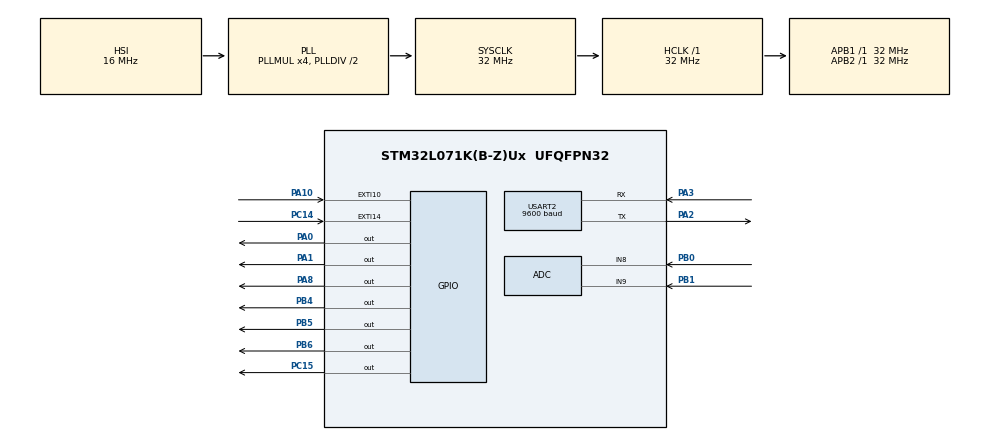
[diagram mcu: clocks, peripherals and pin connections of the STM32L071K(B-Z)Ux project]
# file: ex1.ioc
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ADC.DiscontinuousConvMode=ENABLE
Dma.MEMTOMEM.0.Direction=DMA_MEMORY_TO_MEMORY
Dma.MEMTOMEM.0.Instance=DMA1_Channel1
Dma.MEMTOMEM.0.MemDataAlignment=DMA_MDATAALIGN_BYTE
Dma.MEMTOMEM.0.MemInc=DMA_MINC_ENABLE
Dma.MEMTOMEM.0.Mode=DMA_NORMAL
Dma.MEMTOMEM.0.PeriphDataAlignment=DMA_PDATAALIGN_BYTE
Dma.MEMTOMEM.0.PeriphInc=DMA_PINC_ENABLE
Dma.MEMTOMEM.0.Priority=DMA_PRIORITY_LOW
Dma.Request0=MEMTOMEM
Dma.Request1=USART2_RX
Dma.USART2_RX.1.Direction=DMA_PERIPH_TO_MEMORY
Dma.USART2_RX.1.Instance=DMA1_Channel5
Dma.USART2_RX.1.MemDataAlignment=DMA_MDATAALIGN_BYTE
Dma.USART2_RX.1.MemInc=DMA_MINC_ENABLE
Dma.USART2_RX.1.Mode=DMA_CIRCULAR
Dma.USART2_RX.1.PeriphDataAlignment=DMA_PDATAALIGN_BYTE
Dma.USART2_RX.1.PeriphInc=DMA_PINC_DISABLE
Dma.USART2_RX.1.Priority=DMA_PRIORITY_LOW
Mcu.Family=STM32L0
Mcu.Name=STM32L071K(B-Z)Ux
Mcu.Package=UFQFPN32
NVIC.ADC1_COMP_IRQn=true\:0\:0\:false\:false\:true\:true\:true
NVIC.DMA1_Channel1_IRQn=true\:0\:0\:false\:false\:true\:true\:true
NVIC.DMA1_Channel4_5_6_7_IRQn=true\:0\:0\:false\:false\:true\:false\:true
NVIC.EXTI4_15_IRQn=true\:0\:0\:false\:false\:true\:true\:true
NVIC.TIM6_IRQn=true\:0\:0\:false\:false\:true\:true\:true
NVIC.USART2_IRQn=true\:0\:0\:false\:false\:true\:true\:true
PA0.Signal=GPIO_Output
PA1.Signal=GPIO_Output
PA10.GPIO_PuPd=GPIO_PULLUP
PA10.Signal=GPXTI10
PA13.Mode=Serial_Wire
PA13.Signal=SYS_SWDIO
PA14.Mode=Serial_Wire
PA14.Signal=SYS_SWCLK
PA2.Mode=Asynchronous
PA2.Signal=USART2_TX
PA3.Mode=Asynchronous
PA3.Signal=USART2_RX
PA8.Signal=GPIO_Output
PB0.Mode=IN8
PB0.Signal=ADC_IN8
PB1.Mode=IN9
PB1.Signal=ADC_IN9
PB4.Signal=GPIO_Output
PB5.Signal=GPIO_Output
PB6.Signal=GPIO_Output
PC14-OSC32_IN.GPIO_PuPd=GPIO_PULLDOWN
PC14-OSC32_IN.Signal=GPXTI14
PC15-OSC32_OUT.Signal=GPIO_Output
ProjectManager.HeapSize=0x200
ProjectManager.StackSize=0x400
ProjectManager.TargetToolchain=MDK-ARM V5
RCC.AHBFreq_Value=32000000
RCC.APB1Freq_Value=32000000
RCC.APB1TimFreq_Value=32000000
RCC.APB2Freq_Value=32000000
RCC.APB2TimFreq_Value=32000000
RCC.HCLKFreq_Value=32000000
RCC.HSI16_VALUE=16000000
RCC.HSI_VALUE=16000000
RCC.LSE_VALUE=32768
RCC.MSI_VALUE=2097000
RCC.PLLMUL=RCC_PLLMUL_4
RCC.SYSCLKFreq_VALUE=32000000
RCC.SYSCLKSource=RCC_SYSCLKSOURCE_PLLCLK
RCC.VCOOutputFreq_Value=64000000
RTC.Format=RTC_FORMAT_BIN
RTC.SynchPrediv=307
TIM6.Period=999
TIM6.Prescaler=31
USART2.BaudRate=9600
USART2.VirtualMode-Asynchronous=VM_ASYNC
VP_CRC_VS_CRC.Mode=CRC_Activate
VP_RTC_VS_RTC_Activate.Mode=RTC_Enabled
VP_RTC_VS_RTC_Calendar.Mode=RTC_Calendar
VP_TIM6_VS_ClockSourceINT.Mode=Enable_Timer
board=custom

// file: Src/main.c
/* USER CODE BEGIN Header */
/**
  ******************************************************************************
  * @file           : main.c
  * @brief          : Main program body
  ******************************************************************************
  * @attention
  *
  * <h2><center>&copy; Copyright (c) 2019 STMicroelectronics.
  * All rights reserved.</center></h2>
  *
  * This software component is licensed by ST under BSD 3-Clause license,
  * the "License"; You may not use this file except in compliance with the
  * License. You may obtain a copy of the License at:
  *                        opensource.org/licenses/BSD-3-Clause
  *
  ******************************************************************************
  */
/* USER CODE END Header */

#include "main.h"
#include "adc.h"
#include "crc.h"
#include "dma.h"
#include "rtc.h"
#include "tim.h"
#include "usart.h"
#include "gpio.h"

/* USER CODE BEGIN Includes */
#include "stm32l0xx_hal.h"
#include "zm4xx_gpio.h"
#include "spi.h"
#include "timer.h"
#include "stddef.h"
#include "sx127x_lora.h"
/* USER CODE END Includes */

/* USER CODE BEGIN PTD */
#define FREQ  (433000000)
void SystemClock_Config(void);
void Hardware_Init(void);
radio_handle_t  handle;
int ret = RADIO_RET_OK;

    uint16_t len = 0;
		uint8_t rx[100];
		uint8_t tx = 0x55;
		uint8_t cntr = 0;
	unsigned int time_100ms=1,time_500ms=1,time_2s=1;
	unsigned int lora_flag=2,send_allow=1;
	unsigned char cmd1[]="0x14,0x02,0x35,0x69,0x41,0x0A,0x01";
	unsigned char cmd2[]="0x14,0x02,0x35,0x69,0x41,0x0B,0x01";
	char lcdLine_1st_line[16];
  char lcdLine_2st_line[16];
	float value[2];
/* USER CODE END PTD */

/* USER CODE BEGIN PM */
//ret = radio_buf_recv(handle, &rx, &len);
//			if(ret == RADIO_RET_OK){
//				if(rx == 0xAA){
//						HAL_GPIO_TogglePin(GPIOC, GPIO_PIN_15);
//				}
//			}
//
//			if(++cntr == 40){
//				radio_buf_send(handle, &tx, 1); 	//
//				radio_mode_set(handle, RX_MODE);
//				cntr = 0;
//			}
/* USER CODE END PM */

void SystemClock_Config(void);

/* USER CODE BEGIN 0 */
void Task_BrdInit(void)
{
    HAL_GPIO_WritePin(GPIOC, GPIO_PIN_15, GPIO_PIN_SET);

    OLED_PowerControl(ENABLE);

    HAL_Delay(200);
    OLED_Init();
    OLED_Clear();

    OLED_ShowString(0, 0, (unsigned char *)"                ", 16);
    OLED_ShowString(0, 2, (unsigned char *)"                ", 16);
}
void LoRa_Init(void)
{

	handle = radio_zm4xx_inst_init(spi_recv_byte,spi_send_byte,zm4xx_rst_pin_set,zm4xx_sel_pin_set,delay_ms,delay_us);

	if(handle != NULL){
		if(RADIO_RET_OK == radio_freq_set(handle, FREQ)){
				HAL_GPIO_WritePin(GPIOC, GPIO_PIN_15,GPIO_PIN_RESET);
		}

		radio_mode_set(handle, RX_MODE);	//Receive Mode
	}
}
void node(void);
/* USER CODE END 0 */

int main(void)
{
  /* USER CODE BEGIN 1 */

	unsigned int i;

  /* USER CODE END 1 */

  /* MCU Configuration--------------------------------------------------------*/

  /* Reset of all peripherals, Initializes the Flash interface and the Systick. */
  HAL_Init();

  /* Configure the system clock */
  SystemClock_Config();

  /* Initialize all configured peripherals */
  MX_GPIO_Init();
  MX_DMA_Init();
  MX_CRC_Init();
  MX_USART2_UART_Init();
  MX_RTC_Init();
  MX_TIM6_Init();
  MX_ADC_Init();
  /* USER CODE BEGIN 2 */
    Task_BrdInit();
		zm4xx_pin_init(); //LORA��Ҫ
    spi_init();//LORA��Ҫ
		LoRa_Init();
		HAL_TIM_Base_Start_IT(&htim6);
		sprintf(lcdLine_1st_line, "K1-LED:NO");
		sprintf(lcdLine_2st_line, "K2-LED:NO");
  /* USER CODE END 2 */

  /* Infinite loop */
    while (1)
    {

    /* USER CODE BEGIN 3 */
			if(time_500ms==1)
			{
				for(i=0;i<=1;i++)
				{
					HAL_ADC_Start(&hadc);
					if(HAL_ADC_PollForConversion(&hadc,10))
					value[i]=HAL_ADC_GetValue(&hadc)*3.3/4095;
				}
				time_500ms=0;
			}
			if(time_100ms==1)
			{
				OLED_ShowString(0, 0, (unsigned char *)lcdLine_1st_line, 16);
				OLED_ShowString(0, 2, (unsigned char *)lcdLine_2st_line, 16);
				time_100ms=0;
			}
			node();
    }
  /* USER CODE END 3 */
}
/* USER CODE BEGIN 4 */
void node()
{
	if(lora_flag==1)
	{
		lora_flag=0;send_allow=0;

		send_allow=1;
	}
}
void HAL_TIM_PeriodElapsedCallback(TIM_HandleTypeDef *htim)
{
	static unsigned int a1=0,a2=0;
	a1++;a2++;
	if(a1==100)
	{
		time_100ms=!time_100ms;
		a1=0;
	}
	if(a2==500)
	{
		time_500ms=!time_500ms;
		a2=0;
	}
}
void HAL_GPIO_EXTI_Callback(uint16_t GPIO_Pin)
{
	if(GPIO_Pin==GPIO_PIN_10)
	{
		if(send_allow==1)
		{
			ret = radio_buf_recv(handle,rx, &len);
			lora_flag=1;
		}
	}
	if(GPIO_Pin==GPIO_PIN_14)
	{

	}
}
/* USER CODE END 4 */
void SystemClock_Config(void)
{
  RCC_OscInitTypeDef RCC_OscInitStruct = {0};
  RCC_ClkInitTypeDef RCC_ClkInitStruct = {0};
  RCC_PeriphCLKInitTypeDef PeriphClkInit = {0};

  /** Configure the main internal regulator output voltage
  */
  __HAL_PWR_VOLTAGESCALING_CONFIG(PWR_REGULATOR_VOLTAGE_SCALE1);
  /** Initializes the CPU, AHB and APB busses clocks
  */
  RCC_OscInitStruct.OscillatorType = RCC_OSCILLATORTYPE_HSI|RCC_OSCILLATORTYPE_LSI;
  RCC_OscInitStruct.HSIState = RCC_HSI_ON;
  RCC_OscInitStruct.HSICalibrationValue = RCC_HSICALIBRATION_DEFAULT;
  RCC_OscInitStruct.LSIState = RCC_LSI_ON;
  RCC_OscInitStruct.PLL.PLLState = RCC_PLL_ON;
  RCC_OscInitStruct.PLL.PLLSource = RCC_PLLSOURCE_HSI;
  RCC_OscInitStruct.PLL.PLLMUL = RCC_PLLMUL_4;
  RCC_OscInitStruct.PLL.PLLDIV = RCC_PLLDIV_2;
  if (HAL_RCC_OscConfig(&RCC_OscInitStruct) != HAL_OK)
  {
    Error_Handler();
  }
  /** Initializes the CPU, AHB and APB busses clocks
  */
  RCC_ClkInitStruct.ClockType = RCC_CLOCKTYPE_HCLK|RCC_CLOCKTYPE_SYSCLK
                              |RCC_CLOCKTYPE_PCLK1|RCC_CLOCKTYPE_PCLK2;
  RCC_ClkInitStruct.SYSCLKSource = RCC_SYSCLKSOURCE_PLLCLK;
  RCC_ClkInitStruct.AHBCLKDivider = RCC_SYSCLK_DIV1;
  RCC_ClkInitStruct.APB1CLKDivider = RCC_HCLK_DIV1;
  RCC_ClkInitStruct.APB2CLKDivider = RCC_HCLK_DIV1;

  if (HAL_RCC_ClockConfig(&RCC_ClkInitStruct, FLASH_LATENCY_1) != HAL_OK)
  {
    Error_Handler();
  }
  PeriphClkInit.PeriphClockSelection = RCC_PERIPHCLK_USART2|RCC_PERIPHCLK_RTC;
  PeriphClkInit.Usart2ClockSelection = RCC_USART2CLKSOURCE_PCLK1;
  PeriphClkInit.RTCClockSelection = RCC_RTCCLKSOURCE_LSI;
  if (HAL_RCCEx_PeriphCLKConfig(&PeriphClkInit) != HAL_OK)
  {
    Error_Handler();
  }
}

void Error_Handler(void)
{
}

/************************ (C) COPYRIGHT STMicroelectronics *****END OF FILE****/
